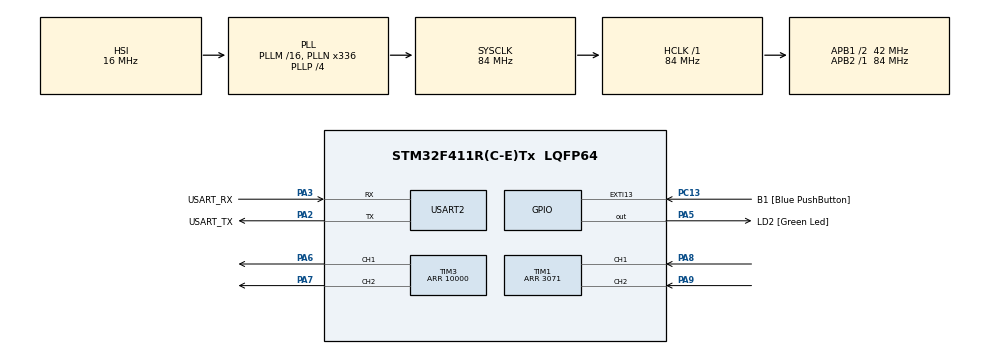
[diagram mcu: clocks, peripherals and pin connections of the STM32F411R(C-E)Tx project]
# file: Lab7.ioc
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Mcu.Family=STM32F4
Mcu.Name=STM32F411R(C-E)Tx
Mcu.Package=LQFP64
NVIC.PriorityGroup=NVIC_PRIORITYGROUP_0
NVIC.TIM2_IRQn=true\:0\:0\:false\:false\:true\:true\:true
PA13.GPIO_Label=TMS
PA13.Mode=Serial_Wire
PA13.Signal=SYS_JTMS-SWDIO
PA14.GPIO_Label=TCK
PA14.Mode=Serial_Wire
PA14.Signal=SYS_JTCK-SWCLK
PA2.GPIO_Label=USART_TX
PA2.Mode=Asynchronous
PA2.Signal=USART2_TX
PA3.GPIO_Label=USART_RX
PA3.Mode=Asynchronous
PA3.Signal=USART2_RX
PA5.GPIO_Label=LD2 [Green Led]
PA5.Signal=GPIO_Output
PA6.Signal=S_TIM3_CH1
PA7.Signal=S_TIM3_CH2
PA8.Signal=S_TIM1_CH1
PA9.Signal=S_TIM1_CH2
PB3.GPIO_Label=SWO
PB3.Signal=SYS_JTDO-SWO
PC13-ANTI_TAMP.GPIO_Label=B1 [Blue PushButton]
PC13-ANTI_TAMP.GPIO_ModeDefaultEXTI=GPIO_MODE_IT_FALLING
PC13-ANTI_TAMP.Signal=GPXTI13
PC14-OSC32_IN.Mode=LSE-External-Oscillator
PC14-OSC32_IN.Signal=RCC_OSC32_IN
PC15-OSC32_OUT.Mode=LSE-External-Oscillator
PC15-OSC32_OUT.Signal=RCC_OSC32_OUT
PH0\ -\ OSC_IN.Mode=HSE-External-Clock-Source
PH0\ -\ OSC_IN.Signal=RCC_OSC_IN
PH1\ -\ OSC_OUT.Mode=HSE-External-Clock-Source
PH1\ -\ OSC_OUT.Signal=RCC_OSC_OUT
ProjectManager.HeapSize=0x200
ProjectManager.StackSize=0x400
ProjectManager.TargetToolchain=STM32CubeIDE
RCC.48MHZClocksFreq_Value=84000000
RCC.AHBFreq_Value=84000000
RCC.APB1CLKDivider=RCC_HCLK_DIV2
RCC.APB1Freq_Value=42000000
RCC.APB1TimFreq_Value=84000000
RCC.APB2Freq_Value=84000000
RCC.APB2TimFreq_Value=84000000
RCC.CortexFreq_Value=84000000
RCC.FLatency-AdvancedSettings=FLASH_LATENCY_2
RCC.HCLKFreq_Value=84000000
RCC.HSE_VALUE=8000000
RCC.HSI_VALUE=16000000
RCC.PLLN=336
RCC.PLLP=RCC_PLLP_DIV4
RCC.SYSCLKFreq_VALUE=84000000
RCC.SYSCLKSource=RCC_SYSCLKSOURCE_PLLCLK
RCC.VCOOutputFreq_Value=336000000
SH.S_TIM1_CH1.0=TIM1_CH1,Encoder_Interface
SH.S_TIM1_CH2.0=TIM1_CH2,Encoder_Interface
SH.S_TIM3_CH1.0=TIM3_CH1,PWM Generation1 CH1
SH.S_TIM3_CH2.0=TIM3_CH2,PWM Generation2 CH2
TIM1.EncoderMode=TIM_ENCODERMODE_TI12
TIM1.Period=3071
TIM2.Prescaler=99
TIM3.Channel-PWM\ Generation1\ CH1=TIM_CHANNEL_1
TIM3.Channel-PWM\ Generation2\ CH2=TIM_CHANNEL_2
TIM3.Period=10000
USART2.VirtualMode=VM_ASYNC
VP_TIM2_VS_ClockSourceINT.Mode=Internal
board=NUCLEO-F411RE

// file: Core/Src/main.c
/* USER CODE BEGIN Header */
/**
 ******************************************************************************
 * @file           : main.c
 * @brief          : Main program body
 ******************************************************************************
 * @attention
 *
 * <h2><center>&copy; Copyright (c) 2021 STMicroelectronics.
 * All rights reserved.</center></h2>
 *
 * This software component is licensed by ST under BSD 3-Clause license,
 * the "License"; You may not use this file except in compliance with the
 * License. You may obtain a copy of the License at:
 *                        opensource.org/licenses/BSD-3-Clause
 *
 ******************************************************************************
 */
/* USER CODE END Header */
#include "main.h"

TIM_HandleTypeDef htim1;
TIM_HandleTypeDef htim2;
TIM_HandleTypeDef htim3;

UART_HandleTypeDef huart2;

/* USER CODE BEGIN PV */
uint64_t _micros = 0;
float EncoderVel = 0;
uint64_t Timestamp_Encoder = 0;
uint64_t PWM1 = 0;
uint64_t PWM2 = 0;
float sum_error = 0;
float perror = 0;
float error = 0;
float r = 0;
float KP = 0;
float KI = 0;
float KD = 0;

/* USER CODE END PV */

void SystemClock_Config(void);
static void MX_GPIO_Init(void);
static void MX_USART2_UART_Init(void);
static void MX_TIM1_Init(void);
static void MX_TIM2_Init(void);
static void MX_TIM3_Init(void);
/* USER CODE BEGIN PFP */
uint64_t micros();
float EncoderVelocity_Update();
void control_interrupt();
/* USER CODE END PFP */

int main(void) {

	/* MCU Configuration--------------------------------------------------------*/

	/* Reset of all peripherals, Initializes the Flash interface and the Systick. */
	HAL_Init();

	/* Configure the system clock */
	SystemClock_Config();

	/* Initialize all configured peripherals */
	MX_GPIO_Init();
	MX_USART2_UART_Init();
	MX_TIM1_Init();
	MX_TIM2_Init();
	MX_TIM3_Init();
	/* USER CODE BEGIN 2 */
	HAL_TIM_Base_Start_IT(&htim2);
	HAL_TIM_Encoder_Start(&htim1, TIM_CHANNEL_ALL);
	HAL_TIM_PWM_Start(&htim3, TIM_CHANNEL_1);
	HAL_TIM_PWM_Start(&htim3, TIM_CHANNEL_2);
	/* USER CODE END 2 */

	/* Infinite loop */
	while (1) {

		/* USER CODE BEGIN 3 */

		//RAW Read
//		if (micros() - Timestamp_Encoder >= 1000)
//		{
//			Timestamp_Encoder = micros();
//			EncoderVel = EncoderVelocity_Update();
//		}
//Add LPF?
		if (micros() - Timestamp_Encoder >= 1000) {
			Timestamp_Encoder = micros();
			EncoderVel = (EncoderVel * 999 + EncoderVelocity_Update()) / 1000.0;
			control_interrupt();
			/*if (r > 0) {
			 __HAL_TIM_SET_COMPARE(&htim3, TIM_CHANNEL_1, PWM1);
			 __HAL_TIM_SET_COMPARE(&htim3, TIM_CHANNEL_2, PWM2);
			 }
			 if (r < 0) {
			 __HAL_TIM_SET_COMPARE(&htim3, TIM_CHANNEL_1, PWM2);
			 __HAL_TIM_SET_COMPARE(&htim3, TIM_CHANNEL_2, PWM1);
			 }
			 if (r == 0) {
			 __HAL_TIM_SET_COMPARE(&htim3, TIM_CHANNEL_1, 0);
			 __HAL_TIM_SET_COMPARE(&htim3, TIM_CHANNEL_2, 0);
			 }*/
		}

	}
	/* USER CODE END 3 */
}

void SystemClock_Config(void) {
	RCC_OscInitTypeDef RCC_OscInitStruct = { 0 };
	RCC_ClkInitTypeDef RCC_ClkInitStruct = { 0 };

	/** Configure the main internal regulator output voltage
	 */
	__HAL_RCC_PWR_CLK_ENABLE();
	__HAL_PWR_VOLTAGESCALING_CONFIG(PWR_REGULATOR_VOLTAGE_SCALE1);
	/** Initializes the RCC Oscillators according to the specified parameters
	 * in the RCC_OscInitTypeDef structure.
	 */
	RCC_OscInitStruct.OscillatorType = RCC_OSCILLATORTYPE_HSI;
	RCC_OscInitStruct.HSIState = RCC_HSI_ON;
	RCC_OscInitStruct.HSICalibrationValue = RCC_HSICALIBRATION_DEFAULT;
	RCC_OscInitStruct.PLL.PLLState = RCC_PLL_ON;
	RCC_OscInitStruct.PLL.PLLSource = RCC_PLLSOURCE_HSI;
	RCC_OscInitStruct.PLL.PLLM = 16;
	RCC_OscInitStruct.PLL.PLLN = 336;
	RCC_OscInitStruct.PLL.PLLP = RCC_PLLP_DIV4;
	RCC_OscInitStruct.PLL.PLLQ = 4;
	if (HAL_RCC_OscConfig(&RCC_OscInitStruct) != HAL_OK) {
		Error_Handler();
	}
	/** Initializes the CPU, AHB and APB buses clocks
	 */
	RCC_ClkInitStruct.ClockType = RCC_CLOCKTYPE_HCLK | RCC_CLOCKTYPE_SYSCLK
			| RCC_CLOCKTYPE_PCLK1 | RCC_CLOCKTYPE_PCLK2;
	RCC_ClkInitStruct.SYSCLKSource = RCC_SYSCLKSOURCE_PLLCLK;
	RCC_ClkInitStruct.AHBCLKDivider = RCC_SYSCLK_DIV1;
	RCC_ClkInitStruct.APB1CLKDivider = RCC_HCLK_DIV2;
	RCC_ClkInitStruct.APB2CLKDivider = RCC_HCLK_DIV1;

	if (HAL_RCC_ClockConfig(&RCC_ClkInitStruct, FLASH_LATENCY_2) != HAL_OK) {
		Error_Handler();
	}
}

static void MX_TIM1_Init(void) {

	TIM_Encoder_InitTypeDef sConfig = { 0 };
	TIM_MasterConfigTypeDef sMasterConfig = { 0 };

	htim1.Instance = TIM1;
	htim1.Init.Prescaler = 0;
	htim1.Init.CounterMode = TIM_COUNTERMODE_UP;
	htim1.Init.Period = 3072;
	htim1.Init.ClockDivision = TIM_CLOCKDIVISION_DIV1;
	htim1.Init.RepetitionCounter = 0;
	htim1.Init.AutoReloadPreload = TIM_AUTORELOAD_PRELOAD_DISABLE;
	sConfig.EncoderMode = TIM_ENCODERMODE_TI12;
	sConfig.IC1Polarity = TIM_ICPOLARITY_RISING;
	sConfig.IC1Selection = TIM_ICSELECTION_DIRECTTI;
	sConfig.IC1Prescaler = TIM_ICPSC_DIV1;
	sConfig.IC1Filter = 0;
	sConfig.IC2Polarity = TIM_ICPOLARITY_RISING;
	sConfig.IC2Selection = TIM_ICSELECTION_DIRECTTI;
	sConfig.IC2Prescaler = TIM_ICPSC_DIV1;
	sConfig.IC2Filter = 0;
	if (HAL_TIM_Encoder_Init(&htim1, &sConfig) != HAL_OK) {
		Error_Handler();
	}
	sMasterConfig.MasterOutputTrigger = TIM_TRGO_RESET;
	sMasterConfig.MasterSlaveMode = TIM_MASTERSLAVEMODE_DISABLE;
	if (HAL_TIMEx_MasterConfigSynchronization(&htim1, &sMasterConfig)
			!= HAL_OK) {
		Error_Handler();
	}

}

static void MX_TIM2_Init(void) {

	TIM_ClockConfigTypeDef sClockSourceConfig = { 0 };
	TIM_MasterConfigTypeDef sMasterConfig = { 0 };

	htim2.Instance = TIM2;
	htim2.Init.Prescaler = 99;
	htim2.Init.CounterMode = TIM_COUNTERMODE_UP;
	htim2.Init.Period = 4294967295;
	htim2.Init.ClockDivision = TIM_CLOCKDIVISION_DIV1;
	htim2.Init.AutoReloadPreload = TIM_AUTORELOAD_PRELOAD_DISABLE;
	if (HAL_TIM_Base_Init(&htim2) != HAL_OK) {
		Error_Handler();
	}
	sClockSourceConfig.ClockSource = TIM_CLOCKSOURCE_INTERNAL;
	if (HAL_TIM_ConfigClockSource(&htim2, &sClockSourceConfig) != HAL_OK) {
		Error_Handler();
	}
	sMasterConfig.MasterOutputTrigger = TIM_TRGO_RESET;
	sMasterConfig.MasterSlaveMode = TIM_MASTERSLAVEMODE_DISABLE;
	if (HAL_TIMEx_MasterConfigSynchronization(&htim2, &sMasterConfig)
			!= HAL_OK) {
		Error_Handler();
	}

}

static void MX_TIM3_Init(void) {

	TIM_MasterConfigTypeDef sMasterConfig = { 0 };
	TIM_OC_InitTypeDef sConfigOC = { 0 };

	htim3.Instance = TIM3;
	htim3.Init.Prescaler = 0;
	htim3.Init.CounterMode = TIM_COUNTERMODE_UP;
	htim3.Init.Period = 10000;
	htim3.Init.ClockDivision = TIM_CLOCKDIVISION_DIV1;
	htim3.Init.AutoReloadPreload = TIM_AUTORELOAD_PRELOAD_DISABLE;
	if (HAL_TIM_PWM_Init(&htim3) != HAL_OK) {
		Error_Handler();
	}
	sMasterConfig.MasterOutputTrigger = TIM_TRGO_RESET;
	sMasterConfig.MasterSlaveMode = TIM_MASTERSLAVEMODE_DISABLE;
	if (HAL_TIMEx_MasterConfigSynchronization(&htim3, &sMasterConfig)
			!= HAL_OK) {
		Error_Handler();
	}
	sConfigOC.OCMode = TIM_OCMODE_PWM1;
	sConfigOC.Pulse = 0;
	sConfigOC.OCPolarity = TIM_OCPOLARITY_HIGH;
	sConfigOC.OCFastMode = TIM_OCFAST_DISABLE;
	if (HAL_TIM_PWM_ConfigChannel(&htim3, &sConfigOC, TIM_CHANNEL_1)
			!= HAL_OK) {
		Error_Handler();
	}
	if (HAL_TIM_PWM_ConfigChannel(&htim3, &sConfigOC, TIM_CHANNEL_2)
			!= HAL_OK) {
		Error_Handler();
	}
	HAL_TIM_MspPostInit(&htim3);

}

static void MX_USART2_UART_Init(void) {

	huart2.Instance = USART2;
	huart2.Init.BaudRate = 115200;
	huart2.Init.WordLength = UART_WORDLENGTH_8B;
	huart2.Init.StopBits = UART_STOPBITS_1;
	huart2.Init.Parity = UART_PARITY_NONE;
	huart2.Init.Mode = UART_MODE_TX_RX;
	huart2.Init.HwFlowCtl = UART_HWCONTROL_NONE;
	huart2.Init.OverSampling = UART_OVERSAMPLING_16;
	if (HAL_UART_Init(&huart2) != HAL_OK) {
		Error_Handler();
	}

}

static void MX_GPIO_Init(void) {
	GPIO_InitTypeDef GPIO_InitStruct = { 0 };

	/* GPIO Ports Clock Enable */
	__HAL_RCC_GPIOC_CLK_ENABLE();
	__HAL_RCC_GPIOH_CLK_ENABLE();
	__HAL_RCC_GPIOA_CLK_ENABLE();
	__HAL_RCC_GPIOB_CLK_ENABLE();

	/*Configure GPIO pin Output Level */
	HAL_GPIO_WritePin(LD2_GPIO_Port, LD2_Pin, GPIO_PIN_RESET);

	/*Configure GPIO pin : B1_Pin */
	GPIO_InitStruct.Pin = B1_Pin;
	GPIO_InitStruct.Mode = GPIO_MODE_IT_FALLING;
	GPIO_InitStruct.Pull = GPIO_NOPULL;
	HAL_GPIO_Init(B1_GPIO_Port, &GPIO_InitStruct);

	/*Configure GPIO pin : LD2_Pin */
	GPIO_InitStruct.Pin = LD2_Pin;
	GPIO_InitStruct.Mode = GPIO_MODE_OUTPUT_PP;
	GPIO_InitStruct.Pull = GPIO_NOPULL;
	GPIO_InitStruct.Speed = GPIO_SPEED_FREQ_LOW;
	HAL_GPIO_Init(LD2_GPIO_Port, &GPIO_InitStruct);

}

/* USER CODE BEGIN 4 */
#define  HTIM_ENCODER htim1
#define  MAX_SUBPOSITION_OVERFLOW 1536
#define  MAX_ENCODER_PERIOD 3072

float EncoderVelocity_Update() {
	//Save Last state
	static uint32_t EncoderLastPosition = 0;
	static uint64_t EncoderLastTimestamp = 0;

	//read data
	uint32_t EncoderNowPosition = HTIM_ENCODER.Instance->CNT;
	uint64_t EncoderNowTimestamp = micros();

	int32_t EncoderPositionDiff;
	uint64_t EncoderTimeDiff;

	EncoderTimeDiff = EncoderNowTimestamp - EncoderLastTimestamp;
	EncoderPositionDiff = EncoderNowPosition - EncoderLastPosition;

	//compensate overflow and underflow
	if (EncoderPositionDiff >= MAX_SUBPOSITION_OVERFLOW) {
		EncoderPositionDiff -= MAX_ENCODER_PERIOD;
	} else if (-EncoderPositionDiff >= MAX_SUBPOSITION_OVERFLOW) {
		EncoderPositionDiff += MAX_ENCODER_PERIOD;
	}

	//Update Position and time
	EncoderLastPosition = EncoderNowPosition;
	EncoderLastTimestamp = EncoderNowTimestamp;

	//Calculate velocity
	//EncoderTimeDiff is in uS
	return ((EncoderPositionDiff * 1000000) / (float) EncoderTimeDiff * 60)
			/ (3072);

}

void HAL_TIM_PeriodElapsedCallback(TIM_HandleTypeDef *htim) {
	if (htim == &htim2) {
		_micros += 4294967295;
	}
}
uint64_t micros() {
	return _micros + htim2.Instance->CNT;
}

//double pu1=0,pe1=0,pe2=0;
void control_interrupt() {
	if (r > 0) {
		error = r - EncoderVel;
		sum_error = sum_error + error;
		PWM1 = KP * error + KI * sum_error + KD * (error - perror);
		perror = error;
		if (PWM1 > 10000) {
			PWM1 = 10000;
		}
		htim3.Instance->CCR1 = PWM1;
		htim3.Instance->CCR2 = 0;
	}
	if (r < 0) {
		error = (r * -1) - (EncoderVel * -1);
		sum_error = sum_error + error;
		PWM1 = KP * error + KI * sum_error + KD * (error - perror);
		perror = error;
		if (PWM1 > 10000) {
			PWM1 = 10000;
		}
		htim3.Instance->CCR2 = PWM1;
		htim3.Instance->CCR1 = 0;
	}

//	double error = r-EncoderVel;
//	PWM1 = pu1+(KP+KI+KD)*error-(KP+2*KD)*pe1+(KD*pe2);
//	pu1 = PWM1;
//	pe2 = pe1;
//	pe1 = error;
//

}
/* USER CODE END 4 */

void Error_Handler(void) {
	__disable_irq();
	while (1) {
	}
}

/************************ (C) COPYRIGHT STMicroelectronics *****END OF FILE****/
